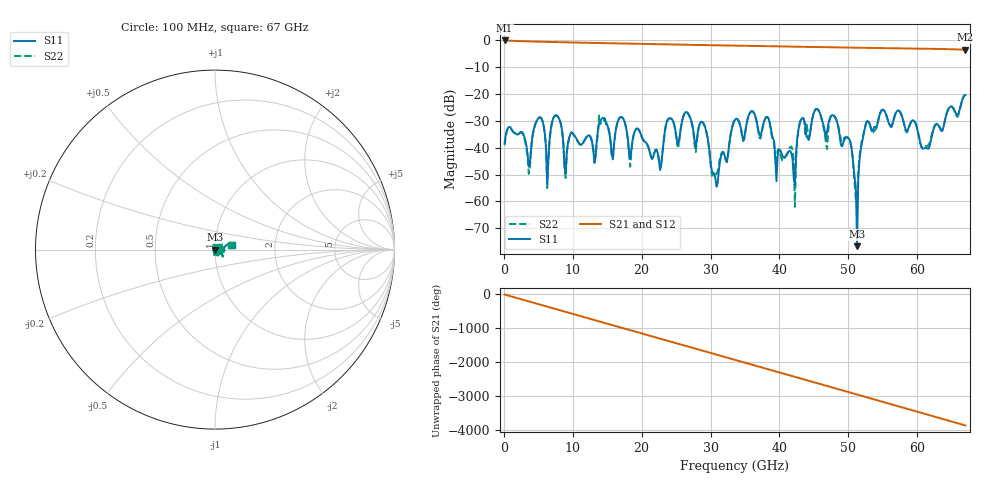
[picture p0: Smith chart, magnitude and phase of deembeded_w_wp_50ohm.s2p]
# GHz S RI R 50
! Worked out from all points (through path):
!   401 points, 100 MHz to 67 GHz, reference 50 ohm
!   highest |S21| = -0.06 dB at 100 MHz (marker M1); lowest = -3.5 dB at 67 GHz (marker M2)
!   group delay of S21, straight-line fit = 160 ps
!   lowest |S11| = -76.7 dB at 51.28 GHz (marker M3), VSWR 1.00, Z = 50 - j0.0146 ohm
!   |S11| at or under -10 dB: start of sweep to end of sweep
!   |S22| runs from -62.1 to -20.4 dB; largest |S21 - S12| = 8.7e-14
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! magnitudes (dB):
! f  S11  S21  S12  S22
! 100 MHz  -38.2  -0.1  -0.1  -39.1
! 3.612 GHz  -46.9  -0.4  -0.4  -49.7
! 5.285 GHz  -28.7  -0.5  -0.5  -28.7
! 6.288 GHz  -53.6  -0.6  -0.6  -55.0
! 7.626 GHz  -27.9  -0.7  -0.7  -28.0
! 8.964 GHz  -49.5  -0.8  -0.8  -51.3
! 11.31 GHz  -38.8  -0.9  -0.9  -38.8
! 16.99 GHz  -28.5  -1.2  -1.2  -28.6
! 22.51 GHz  -45.0  -1.5  -1.5  -44.7
! 26.53 GHz  -26.7  -1.7  -1.7  -26.8
! 30.87 GHz  -54.5  -1.9  -1.9  -49.8
! 33.72 GHz  -29.2  -2.0  -2.0  -29.2
! 38.23 GHz  -28.5  -2.2  -2.2  -28.6
! 42.08 GHz  -51.4  -2.4  -2.4  -44.9
! 43.08 GHz  -29.8  -2.4  -2.4  -29.7
! 44.76 GHz  -29.3  -2.5  -2.5  -29.4
! 48.1 GHz  -28.8  -2.7  -2.7  -28.6
! 51.28 GHz  -76.7  -2.8  -2.8  -57.7
! 52.62 GHz  -30.7  -2.8  -2.8  -30.6
! 55.96 GHz  -31.3  -3.0  -3.0  -31.2
! 61.31 GHz  -40.0  -3.2  -3.2  -39.4
! 67 GHz  -20.3  -3.5  -3.5  -20.4
